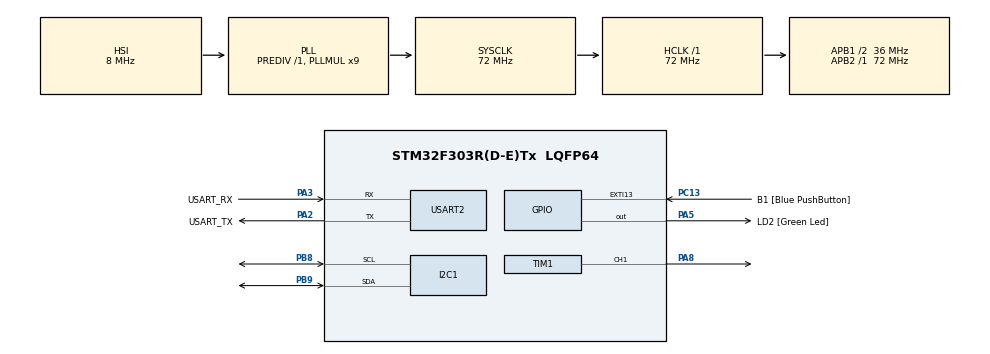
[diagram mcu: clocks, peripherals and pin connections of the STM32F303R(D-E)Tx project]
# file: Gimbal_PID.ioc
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I2C1.Timing=0x00201D2B
Mcu.Family=STM32F3
Mcu.Name=STM32F303R(D-E)Tx
Mcu.Package=LQFP64
NVIC.PriorityGroup=NVIC_PRIORITYGROUP_0
PA13.GPIO_Label=TMS
PA13.Mode=Serial_Wire
PA13.Signal=SYS_JTMS-SWDIO
PA14.GPIO_Label=TCK
PA14.Mode=Serial_Wire
PA14.Signal=SYS_JTCK-SWCLK
PA2.GPIO_Label=USART_TX
PA2.GPIO_Mode=GPIO_MODE_AF_PP
PA2.GPIO_PuPd=GPIO_NOPULL
PA2.GPIO_Speed=GPIO_SPEED_FREQ_LOW
PA2.Mode=Asynchronous
PA2.Signal=USART2_TX
PA3.GPIO_Label=USART_RX
PA3.GPIO_Mode=GPIO_MODE_AF_PP
PA3.GPIO_PuPd=GPIO_NOPULL
PA3.GPIO_Speed=GPIO_SPEED_FREQ_LOW
PA3.Mode=Asynchronous
PA3.Signal=USART2_RX
PA5.GPIO_Label=LD2 [Green Led]
PA5.GPIO_Mode=GPIO_MODE_OUTPUT_PP
PA5.GPIO_PuPd=GPIO_NOPULL
PA5.GPIO_Speed=GPIO_SPEED_FREQ_LOW
PA5.Signal=GPIO_Output
PA8.Signal=S_TIM1_CH1
PB3.GPIO_Label=SWO
PB3.Signal=SYS_JTDO-TRACESWO
PB8.Mode=I2C
PB8.Signal=I2C1_SCL
PB9.Mode=I2C
PB9.Signal=I2C1_SDA
PC13.GPIO_Label=B1 [Blue PushButton]
PC13.GPIO_ModeDefaultEXTI=GPIO_MODE_IT_FALLING
PC13.Signal=GPXTI13
PC14-OSC32_IN.Mode=LSE-External-Oscillator
PC14-OSC32_IN.Signal=RCC_OSC32_IN
PC15-OSC32_OUT.Mode=LSE-External-Oscillator
PC15-OSC32_OUT.Signal=RCC_OSC32_OUT
PF0-OSC_IN.Mode=HSE-External-Clock-Source
PF0-OSC_IN.Signal=RCC_OSC_IN
PF1-OSC_OUT.Signal=RCC_OSC_OUT
ProjectManager.HeapSize=0x200
ProjectManager.StackSize=0x400
ProjectManager.TargetToolchain=CMake
RCC.AHBFreq_Value=72000000
RCC.APB1CLKDivider=RCC_HCLK_DIV2
RCC.APB1Freq_Value=36000000
RCC.APB1TimFreq_Value=72000000
RCC.APB2Freq_Value=72000000
RCC.APB2TimFreq_Value=72000000
RCC.CortexFreq_Value=72000000
RCC.HCLKFreq_Value=72000000
RCC.HSE_VALUE=8000000
RCC.HSI_VALUE=8000000
RCC.PLLM=8
RCC.PLLMUL=RCC_PLL_MUL9
RCC.PLLN=336
RCC.PLLP=RCC_PLLP_DIV4
RCC.PLLQ=7
RCC.RCC_PLLsource_Clock_Source_FROM_HSE=RCC_HSE_PREDIV_DIV2
RCC.SYSCLKFreq_VALUE=72000000
RCC.SYSCLKSourceVirtual=RCC_SYSCLKSOURCE_PLLCLK
RCC.USBFreq_Value=72000000
SH.S_TIM1_CH1.0=TIM1_CH1,PWM Generation1 CH1
TIM1.Channel-PWM\ Generation1\ CH1=TIM_CHANNEL_1
TIM1.Period=1999
TIM1.Prescaler=71
TIM1.Pulse-PWM\ Generation1\ CH1=1500
USART2.VirtualMode-Asynchronous=VM_ASYNC
VP_TIM1_VS_ClockSourceINT.Mode=Internal
board=NUCLEO-F303RE

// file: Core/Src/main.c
/* USER CODE BEGIN Header */
/**
  ******************************************************************************
  * @file           : main.c
  * @brief          : Main program body
  ******************************************************************************
  * @attention
  *
  * Copyright (c) 2026 STMicroelectronics.
  * All rights reserved.
  *
  * This software is licensed under terms that can be found in the LICENSE file
  * in the root directory of this software component.
  * If no LICENSE file comes with this software, it is provided AS-IS.
  *
  ******************************************************************************
  */
/* USER CODE END Header */
#include "main.h"

/* USER CODE BEGIN Includes */
#include "ssd1306.h"
#include <stdio.h>
#include <stdlib.h>
#include <math.h>
/* USER CODE END Includes */

/* USER CODE BEGIN PD */
#define MPU6050_ADDR 0xD0

/* USER CODE END PD */

I2C_HandleTypeDef hi2c1;

TIM_HandleTypeDef htim1;

UART_HandleTypeDef huart2;

/* USER CODE BEGIN PV */

// --- Змінні системи ---
volatile int16_t Accel_X_RAW;
uint8_t rec_data[6];
char display_buf[32];

// --- Пам'ять PID ---
float error = 0;
float last_error = 0;
float integral = 0;
float pid_output = 0;
/* USER CODE END PV */

void SystemClock_Config(void);
static void MX_GPIO_Init(void);
static void MX_I2C1_Init(void);
static void MX_TIM1_Init(void);
static void MX_USART2_UART_Init(void);

int main(void)
{

  /* MCU Configuration--------------------------------------------------------*/

  /* Reset of all peripherals, Initializes the Flash interface and the Systick. */
  HAL_Init();

  /* Configure the system clock */
  SystemClock_Config();

  /* Initialize all configured peripherals */
  MX_GPIO_Init();
  MX_I2C1_Init();
  MX_TIM1_Init();
  MX_USART2_UART_Init();
  /* USER CODE BEGIN 2 */
  HAL_TIM_PWM_Start(&htim1, TIM_CHANNEL_1);

  // 2. Ініціалізація Екрану
  SSD1306_Init();
  SSD1306_Fill(Black);
  SSD1306_SetCursor(10, 10);
  SSD1306_WriteString("GIMBAL INIT...", White);
  SSD1306_UpdateScreen();
  HAL_Delay(1000);

  // 3. Ініціалізація MPU6050 (Вихід зі сну)
  uint8_t check_data = 0;
  // Якщо датчик не відповідає - зависаємо і пишемо помилку
  if (HAL_I2C_Mem_Write(&hi2c1, MPU6050_ADDR, 0x6B, 1, &check_data, 1, 1000) != HAL_OK)
  {
      SSD1306_Fill(Black);
      SSD1306_SetCursor(0, 0);
      SSD1306_WriteString("MPU ERROR!", White);
      SSD1306_UpdateScreen();
      while(1);
  }
  /* USER CODE END 2 */

  /* Infinite loop */
  /* USER CODE BEGIN WHILE */
  float Kp = 0.03;   // Базова реакція
  float Ki = 0.02;  // Повільне, але точне вирівнювання (вже не 0.2!)
  float Kd = 0.0;    // Гальмування різких рухів

  // Змінні пам'яті
  static float integral = 0;
  static float prev_error = 0;
  static float Filtered_Angle = 0;

  while (1)
  {
    if (HAL_I2C_Mem_Read(&hi2c1, MPU6050_ADDR, 0x3B, 1, rec_data, 2, 100) == HAL_OK)
    {
        Accel_X_RAW = (int16_t)(rec_data[0] << 8 | rec_data[1]);

        // 1. ПОСИЛЕНИЙ ФІЛЬТР
        // Беремо 96% старого і лише 4% нового.
        // Це зробить реакцію трішки повільнішою, але дуже плавною.
        Filtered_Angle = (Filtered_Angle * 0.96) + (Accel_X_RAW * 0.04);

        int target = 0;
        float error = target - Filtered_Angle;

        // 2. PID - Інтеграл
        integral = integral + error;

        // Ліміт інтегралу (щоб не "надувався" надто сильно)
        if (integral > 1500) integral = 1500;
        if (integral < -1500) integral = -1500;

        // 3. Формула (Без D)
        float pid_output = (error * Kp) + (integral * Ki);

        // 4. МЕРТВА ЗОНА (Обов'язкова для дешевих серво)
        // Якщо зміна менша за 4 одиниці - ігноруємо, стоїмо на місці.
        if (fabsf(pid_output) < 4.0f) pid_output = 0;

        // 5. Вихід на мотор
        int servo_pos = 1500 + (int)pid_output;

        // Ліміти
        if (servo_pos > 2200) servo_pos = 2200;
        if (servo_pos < 800)  servo_pos = 800;

        __HAL_TIM_SET_COMPARE(&htim1, TIM_CHANNEL_1, servo_pos);

        // 6. Екран
        static uint8_t frame_count = 0;
        if (frame_count++ > 10) {
            SSD1306_Fill(Black);
            SSD1306_SetCursor(20, 0);
            SSD1306_WriteString("SMOOTH MODE", White);

            sprintf(display_buf, "Angle: %d", (int)Filtered_Angle);
            SSD1306_SetCursor(0, 20);
            SSD1306_WriteString(display_buf, White);

            sprintf(display_buf, "PWM: %d", servo_pos);
            SSD1306_SetCursor(0, 40);
            SSD1306_WriteString(display_buf, White);

            SSD1306_UpdateScreen();
            frame_count = 0;
        }
    }
    HAL_Delay(20);
    /* USER CODE END WHILE */

  }
}

void SystemClock_Config(void)
{
  RCC_OscInitTypeDef RCC_OscInitStruct = {0};
  RCC_ClkInitTypeDef RCC_ClkInitStruct = {0};
  RCC_PeriphCLKInitTypeDef PeriphClkInit = {0};

  /** Initializes the RCC Oscillators according to the specified parameters
  * in the RCC_OscInitTypeDef structure.
  */
  RCC_OscInitStruct.OscillatorType = RCC_OSCILLATORTYPE_HSI;
  RCC_OscInitStruct.HSIState = RCC_HSI_ON;
  RCC_OscInitStruct.HSICalibrationValue = RCC_HSICALIBRATION_DEFAULT;
  RCC_OscInitStruct.PLL.PLLState = RCC_PLL_ON;
  RCC_OscInitStruct.PLL.PLLSource = RCC_PLLSOURCE_HSI;
  RCC_OscInitStruct.PLL.PLLMUL = RCC_PLL_MUL9;
  RCC_OscInitStruct.PLL.PREDIV = RCC_PREDIV_DIV1;
  if (HAL_RCC_OscConfig(&RCC_OscInitStruct) != HAL_OK)
  {
    Error_Handler();
  }

  /** Initializes the CPU, AHB and APB buses clocks
  */
  RCC_ClkInitStruct.ClockType = RCC_CLOCKTYPE_HCLK|RCC_CLOCKTYPE_SYSCLK
                              |RCC_CLOCKTYPE_PCLK1|RCC_CLOCKTYPE_PCLK2;
  RCC_ClkInitStruct.SYSCLKSource = RCC_SYSCLKSOURCE_PLLCLK;
  RCC_ClkInitStruct.AHBCLKDivider = RCC_SYSCLK_DIV1;
  RCC_ClkInitStruct.APB1CLKDivider = RCC_HCLK_DIV2;
  RCC_ClkInitStruct.APB2CLKDivider = RCC_HCLK_DIV1;

  if (HAL_RCC_ClockConfig(&RCC_ClkInitStruct, FLASH_LATENCY_2) != HAL_OK)
  {
    Error_Handler();
  }
  PeriphClkInit.PeriphClockSelection = RCC_PERIPHCLK_USART2|RCC_PERIPHCLK_I2C1
                              |RCC_PERIPHCLK_TIM1;
  PeriphClkInit.Usart2ClockSelection = RCC_USART2CLKSOURCE_PCLK1;
  PeriphClkInit.I2c1ClockSelection = RCC_I2C1CLKSOURCE_HSI;
  PeriphClkInit.Tim1ClockSelection = RCC_TIM1CLK_HCLK;
  if (HAL_RCCEx_PeriphCLKConfig(&PeriphClkInit) != HAL_OK)
  {
    Error_Handler();
  }
}

static void MX_I2C1_Init(void)
{

  hi2c1.Instance = I2C1;
  hi2c1.Init.Timing = 0x00201D2B;
  hi2c1.Init.OwnAddress1 = 0;
  hi2c1.Init.AddressingMode = I2C_ADDRESSINGMODE_7BIT;
  hi2c1.Init.DualAddressMode = I2C_DUALADDRESS_DISABLE;
  hi2c1.Init.OwnAddress2 = 0;
  hi2c1.Init.OwnAddress2Masks = I2C_OA2_NOMASK;
  hi2c1.Init.GeneralCallMode = I2C_GENERALCALL_DISABLE;
  hi2c1.Init.NoStretchMode = I2C_NOSTRETCH_DISABLE;
  if (HAL_I2C_Init(&hi2c1) != HAL_OK)
  {
    Error_Handler();
  }

  /** Configure Analogue filter
  */
  if (HAL_I2CEx_ConfigAnalogFilter(&hi2c1, I2C_ANALOGFILTER_ENABLE) != HAL_OK)
  {
    Error_Handler();
  }

  /** Configure Digital filter
  */
  if (HAL_I2CEx_ConfigDigitalFilter(&hi2c1, 0) != HAL_OK)
  {
    Error_Handler();
  }

}

static void MX_TIM1_Init(void)
{

  TIM_ClockConfigTypeDef sClockSourceConfig = {0};
  TIM_MasterConfigTypeDef sMasterConfig = {0};
  TIM_OC_InitTypeDef sConfigOC = {0};
  TIM_BreakDeadTimeConfigTypeDef sBreakDeadTimeConfig = {0};

  htim1.Instance = TIM1;
  htim1.Init.Prescaler = 71;
  htim1.Init.CounterMode = TIM_COUNTERMODE_UP;
  htim1.Init.Period = 1999;
  htim1.Init.ClockDivision = TIM_CLOCKDIVISION_DIV1;
  htim1.Init.RepetitionCounter = 0;
  htim1.Init.AutoReloadPreload = TIM_AUTORELOAD_PRELOAD_DISABLE;
  if (HAL_TIM_Base_Init(&htim1) != HAL_OK)
  {
    Error_Handler();
  }
  sClockSourceConfig.ClockSource = TIM_CLOCKSOURCE_INTERNAL;
  if (HAL_TIM_ConfigClockSource(&htim1, &sClockSourceConfig) != HAL_OK)
  {
    Error_Handler();
  }
  if (HAL_TIM_PWM_Init(&htim1) != HAL_OK)
  {
    Error_Handler();
  }
  sMasterConfig.MasterOutputTrigger = TIM_TRGO_RESET;
  sMasterConfig.MasterOutputTrigger2 = TIM_TRGO2_RESET;
  sMasterConfig.MasterSlaveMode = TIM_MASTERSLAVEMODE_DISABLE;
  if (HAL_TIMEx_MasterConfigSynchronization(&htim1, &sMasterConfig) != HAL_OK)
  {
    Error_Handler();
  }
  sConfigOC.OCMode = TIM_OCMODE_PWM1;
  sConfigOC.Pulse = 1500;
  sConfigOC.OCPolarity = TIM_OCPOLARITY_HIGH;
  sConfigOC.OCNPolarity = TIM_OCNPOLARITY_HIGH;
  sConfigOC.OCFastMode = TIM_OCFAST_DISABLE;
  sConfigOC.OCIdleState = TIM_OCIDLESTATE_RESET;
  sConfigOC.OCNIdleState = TIM_OCNIDLESTATE_RESET;
  if (HAL_TIM_PWM_ConfigChannel(&htim1, &sConfigOC, TIM_CHANNEL_1) != HAL_OK)
  {
    Error_Handler();
  }
  sBreakDeadTimeConfig.OffStateRunMode = TIM_OSSR_DISABLE;
  sBreakDeadTimeConfig.OffStateIDLEMode = TIM_OSSI_DISABLE;
  sBreakDeadTimeConfig.LockLevel = TIM_LOCKLEVEL_OFF;
  sBreakDeadTimeConfig.DeadTime = 0;
  sBreakDeadTimeConfig.BreakState = TIM_BREAK_DISABLE;
  sBreakDeadTimeConfig.BreakPolarity = TIM_BREAKPOLARITY_HIGH;
  sBreakDeadTimeConfig.BreakFilter = 0;
  sBreakDeadTimeConfig.Break2State = TIM_BREAK2_DISABLE;
  sBreakDeadTimeConfig.Break2Polarity = TIM_BREAK2POLARITY_HIGH;
  sBreakDeadTimeConfig.Break2Filter = 0;
  sBreakDeadTimeConfig.AutomaticOutput = TIM_AUTOMATICOUTPUT_DISABLE;
  if (HAL_TIMEx_ConfigBreakDeadTime(&htim1, &sBreakDeadTimeConfig) != HAL_OK)
  {
    Error_Handler();
  }
  HAL_TIM_MspPostInit(&htim1);

}

static void MX_USART2_UART_Init(void)
{

  huart2.Instance = USART2;
  huart2.Init.BaudRate = 38400;
  huart2.Init.WordLength = UART_WORDLENGTH_8B;
  huart2.Init.StopBits = UART_STOPBITS_1;
  huart2.Init.Parity = UART_PARITY_NONE;
  huart2.Init.Mode = UART_MODE_TX_RX;
  huart2.Init.HwFlowCtl = UART_HWCONTROL_NONE;
  huart2.Init.OverSampling = UART_OVERSAMPLING_16;
  huart2.Init.OneBitSampling = UART_ONE_BIT_SAMPLE_DISABLE;
  huart2.AdvancedInit.AdvFeatureInit = UART_ADVFEATURE_NO_INIT;
  if (HAL_UART_Init(&huart2) != HAL_OK)
  {
    Error_Handler();
  }

}

static void MX_GPIO_Init(void)
{
  GPIO_InitTypeDef GPIO_InitStruct = {0};

  /* GPIO Ports Clock Enable */
  __HAL_RCC_GPIOC_CLK_ENABLE();
  __HAL_RCC_GPIOF_CLK_ENABLE();
  __HAL_RCC_GPIOA_CLK_ENABLE();
  __HAL_RCC_GPIOB_CLK_ENABLE();

  /*Configure GPIO pin Output Level */
  HAL_GPIO_WritePin(LD2_GPIO_Port, LD2_Pin, GPIO_PIN_RESET);

  /*Configure GPIO pin : B1_Pin */
  GPIO_InitStruct.Pin = B1_Pin;
  GPIO_InitStruct.Mode = GPIO_MODE_IT_FALLING;
  GPIO_InitStruct.Pull = GPIO_NOPULL;
  HAL_GPIO_Init(B1_GPIO_Port, &GPIO_InitStruct);

  /*Configure GPIO pin : LD2_Pin */
  GPIO_InitStruct.Pin = LD2_Pin;
  GPIO_InitStruct.Mode = GPIO_MODE_OUTPUT_PP;
  GPIO_InitStruct.Pull = GPIO_NOPULL;
  GPIO_InitStruct.Speed = GPIO_SPEED_FREQ_LOW;
  HAL_GPIO_Init(LD2_GPIO_Port, &GPIO_InitStruct);

}

void Error_Handler(void)
{
  __disable_irq();
  while (1)
  {
  }
}
